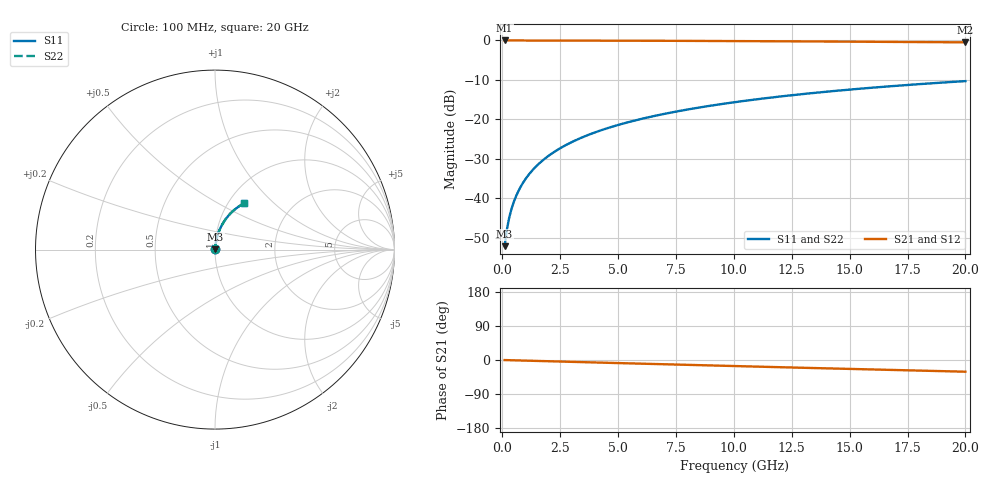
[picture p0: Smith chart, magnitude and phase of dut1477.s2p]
! Touchstone file exported from HFSS 2026.1.0
!  File:  C:/ffzhzh/LocalFiles/Ansys_Project_Files/temp_train_TMRDL_1477_1783167640_55132.aedt
!  Generated:  08:21:57 PM Jul  4, 2026
!  Design:  TMRDL
!  Project:  temp_train_TMRDL_1477_1783167640_55132
! Variables:
!  h_bsmrdl = 2um
!  h_ox = 20um
!  h_rdl = 5um
!  h_sub = 80um
!  h_tmrdl = 4.17um
!  h_tsv = 80um
!  h_via = 3um
!  l_bsmrdl = 300um
!  l_sub = 814.59um
!  l_tmrdl = 414.59um
!  m_sub = 200um
!  pitch = 55.66um
!  r_tsv = 6um
!  s_tmrdl = 10um
!  w_bsmrdl = 18um
!  w_sub = 500um
!  w_tmrdl = 24.3um
!  x_tsv_center1 = 426.74um
!  x_tsv_center2 = 744.74um
!  x_tsv_center3 = 1183.63um
!  x_tsv_center4 = 1501.63um
!  x_tsv_center5 = 1940.52um
!  x_tsv_center6 = 2258.52um
# GHz S MA R 50.000000
! Terminal data exported
! Port[1] = TM_RDL1_1_T1
! Port[2] = TM_RDL1_1_T2
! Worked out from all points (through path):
!   200 points, 100 MHz to 20 GHz, reference 50 ohm
!   highest |S21| = -0.01 dB at 100 MHz (marker M1); lowest = -0.5 dB at 20 GHz (marker M2)
!   group delay of S21, straight-line fit = 4.29 ps
!   lowest |S11| = -52.1 dB at 100 MHz (marker M3), VSWR 1.00, Z = 50.2 + j0.187 ohm
!   |S11| at or under -10 dB: start of sweep to end of sweep
!   |S22| runs from -52.1 to -10.3 dB; largest |S21 - S12| = 2.3e-15
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0.1  0.002492 48.5  0.9984 -0.2  0.9984 -0.2  0.002492 48.5
! Gamma 0 0 0 0
! Port Impedance 50 0 50 0
0.2  0.004074 64.4  0.9982 -0.3  0.9982 -0.3  0.004074 64.4
0.3  0.005742 70.9  0.9982 -0.5  0.9982 -0.5  0.005742 70.9
0.4  0.007418 74.4  0.9981 -0.7  0.9981 -0.7  0.007418 74.4
0.5  0.009098 76.7  0.998 -0.8  0.998 -0.8  0.009097 76.7
0.7  0.01248 79.4  0.9979 -1.2  0.9979 -1.2  0.01248 79.4
0.8  0.01417 80.3  0.9979 -1.3  0.9979 -1.3  0.01417 80.3
1  0.01758 81.4  0.9978 -1.6  0.9978 -1.6  0.01758 81.4
1.2  0.021 82.1  0.9976 -2.0  0.9976 -2.0  0.021 82.1
1.4  0.02442 82.5  0.9975 -2.3  0.9975 -2.3  0.02442 82.5
1.7  0.02955 82.7  0.9973 -2.8  0.9973 -2.8  0.02955 82.7
2  0.03468 82.7  0.997 -3.3  0.997 -3.3  0.03468 82.8
2.7  0.0466 82.3  0.9963 -4.4  0.9963 -4.4  0.0466 82.3
3.5  0.06012 81.5  0.9952 -5.7  0.9952 -5.7  0.06012 81.5
4.2  0.07185 80.5  0.9941 -6.8  0.9941 -6.8  0.07184 80.6
5  0.08511 79.4  0.9927 -8.1  0.9927 -8.1  0.08511 79.4
6.8  0.1144 76.8  0.989 -11.0  0.989 -11.0  0.1144 76.8
8.3  0.1383 74.6  0.9854 -13.3  0.9854 -13.3  0.1383 74.6
10.1  0.1663 72.0  0.9806 -16.1  0.9806 -16.1  0.1663 72.0
13.4  0.2157 67.2  0.9702 -21.2  0.9702 -21.2  0.2157 67.2
16.7  0.2621 62.4  0.9581 -26.1  0.9581 -26.1  0.2621 62.4
20  0.3054 57.7  0.9449 -30.9  0.9449 -30.9  0.3054 57.7
